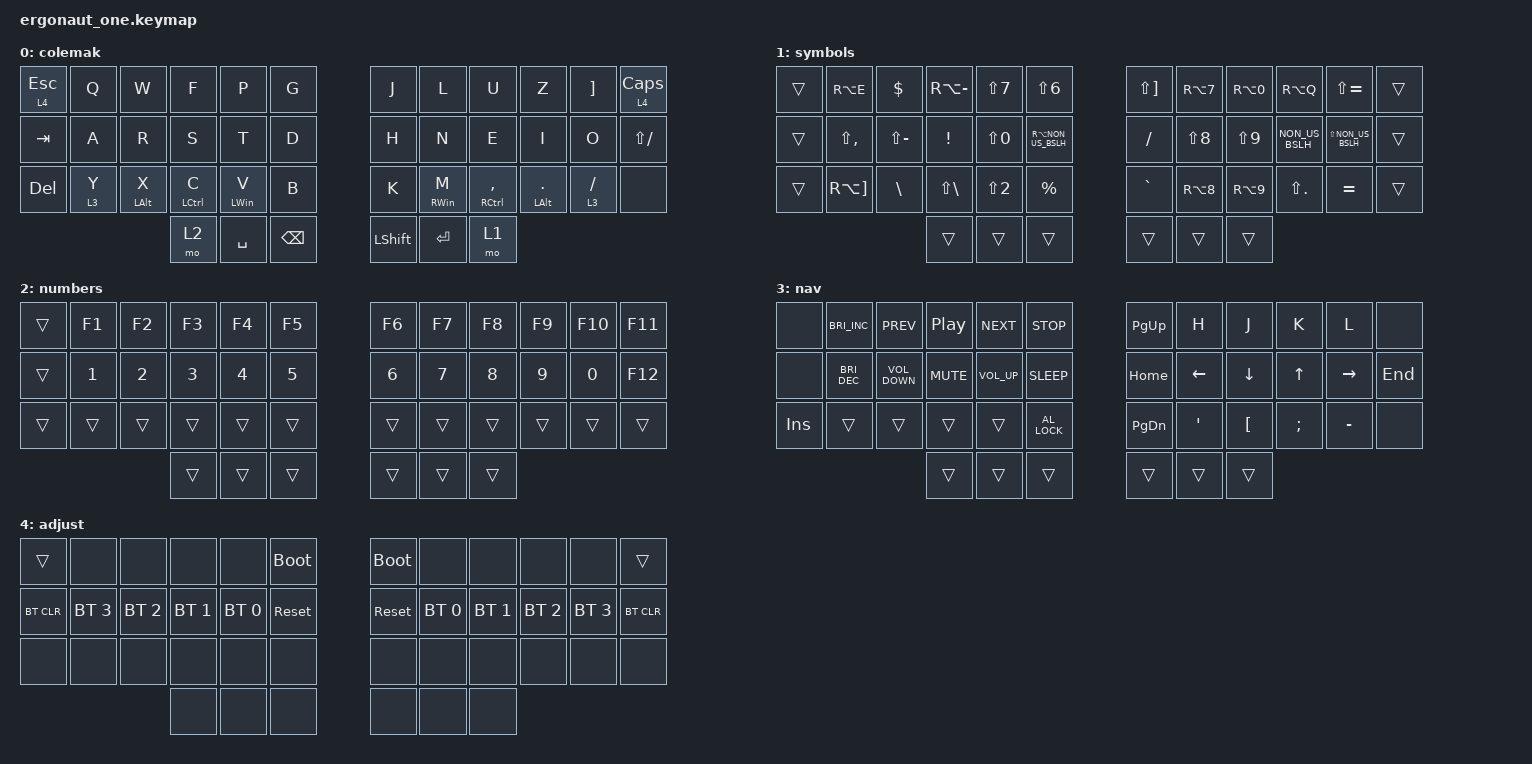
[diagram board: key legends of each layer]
#include <behaviors.dtsi>
#include <dt-bindings/zmk/bt.h>
#include <dt-bindings/zmk/keys.h>

#define DEF 0
#define LWR 1
#define RSE 2
#define ADJ 3

&lt {
    quick-tap-ms = <160>;
    tapping-term-ms = <160>;
    flavor = "tap-preferred";
};

&mt {
    quick-tap-ms = <160>;
    tapping-term-ms = <160>;
    flavor = "tap-preferred";
};

/ {
    conditional_layers { compatible = "zmk,conditional-layers"; };

    keymap {
        compatible = "zmk,keymap";

        colemak {
            bindings = <
&lt 4 ESCAPE  &kp Q    &kp W           &kp F               &kp P           &kp G          &kp J           &kp L            &kp U                    &kp Z             &kp RBKT    &lt 4 CAPSLOCK
&kp TAB       &kp A    &kp R           &kp S               &kp T           &kp D          &kp H           &kp N            &kp E                    &kp I             &kp O       &kp LS(SLASH)
&kp DELETE    &lt 3 Y  &mt LEFT_ALT X  &mt LEFT_CONTROL C  &mt LEFT_WIN V  &kp B          &kp K           &mt RIGHT_WIN M  &mt RIGHT_CONTROL COMMA  &mt LEFT_ALT DOT  &lt 3 FSLH  &none
                                       &mo 2               &kp SPACE       &kp BACKSPACE  &kp LEFT_SHIFT  &kp RETURN       &mo 1
            >;
        };

        symbols {
            bindings = <
&trans  &kp RA(E)              &kp DOLLAR     &kp RA(MINUS)      &kp LS(N7)        &kp LS(NUMBER_6)     &kp LS(RIGHT_BRACKET)  &kp RA(N7)  &kp RA(N0)  &kp RA(Q)        &kp LS(EQUAL)        &trans
&trans  &kp LS(COMMA)          &kp LS(MINUS)  &kp EXCLAMATION    &kp LS(NUMBER_0)  &kp RA(NON_US_BSLH)  &kp FSLH               &kp LS(N8)  &kp LS(N9)  &kp NON_US_BSLH  &kp LS(NON_US_BSLH)  &trans
&trans  &kp RA(RIGHT_BRACKET)  &kp BACKSLASH  &kp LS(BACKSLASH)  &kp LS(N2)        &kp PERCENT          &kp GRAVE              &kp RA(N8)  &kp RA(N9)  &kp LS(PERIOD)   &kp EQUAL            &trans
                                              &trans             &trans            &trans               &trans                 &trans      &trans
            >;
        };

        numbers {
            bindings = <
&trans  &kp F1  &kp F2  &kp F3  &kp F4  &kp F5  &kp F6  &kp F7  &kp F8  &kp F9  &kp F10  &kp F11
&trans  &kp N1  &kp N2  &kp N3  &kp N4  &kp N5  &kp N6  &kp N7  &kp N8  &kp N9  &kp N0   &kp F12
&trans  &trans  &trans  &trans  &trans  &trans  &trans  &trans  &trans  &trans  &trans   &trans
                        &trans  &trans  &trans  &trans  &trans  &trans
            >;
        };

        nav {
            bindings = <
&none    &kp C_BRIGHTNESS_INC  &kp C_PREV         &kp C_PLAY_PAUSE  &kp C_NEXT       &kp C_STOP     &kp PG_UP  &kp H             &kp J     &kp K     &kp L      &none
&none    &kp C_BRIGHTNESS_DEC  &kp C_VOLUME_DOWN  &kp K_MUTE        &kp C_VOLUME_UP  &kp C_SLEEP    &kp HOME   &kp LEFT          &kp DOWN  &kp UP    &kp RIGHT  &kp END
&kp INS  &trans                &trans             &trans            &trans           &kp C_AL_LOCK  &kp PG_DN  &kp SINGLE_QUOTE  &kp LBKT  &kp SEMI  &kp MINUS  &none
                                                  &trans            &trans           &trans         &trans     &trans            &trans
            >;
        };

        adjust {
            bindings = <
&trans      &none         &none         &none         &none         &bootloader  &bootloader  &none         &none         &none         &none         &trans
&bt BT_CLR  &bt BT_SEL 3  &bt BT_SEL 2  &bt BT_SEL 1  &bt BT_SEL 0  &sys_reset   &sys_reset   &bt BT_SEL 0  &bt BT_SEL 1  &bt BT_SEL 2  &bt BT_SEL 3  &bt BT_CLR
&none       &none         &none         &none         &none         &none        &none        &none         &none         &none         &none         &none
                                        &none         &none         &none        &none        &none         &none
            >;
        };
    };
};
